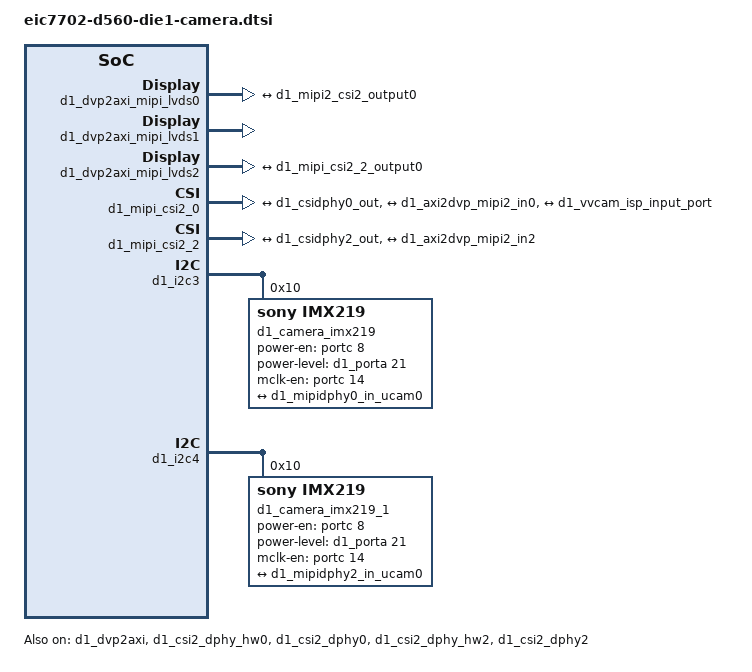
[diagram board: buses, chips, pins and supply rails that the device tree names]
&d1_vi_subsys {
	eswin,isp_dvp0_hor = <3280>;
	eswin,isp_dvp0_ver = <2464>;
	phy_mode = <2>; //5: 6x2lanes, 2: 3x4lanes
    d1_vvcam_isp_0: d1-vvcam_isp@0 {
        compatible = "verisilicon,isp-v4l2";
        id = <0>;
        status = "disabled";
		dma-noncoherent;

        ports {
            #address-cells = <1>;
            #size-cells = <0>;

			port@0 {
				#address-cells = <1>;
				#size-cells = <0>;
				reg = <0>;
				d1_vvcam_isp_input_port: endpoint@0 {
					remote-endpoint = <&d1_mipi2_csi2_output1>;
				};
			};

            port@1 {
                reg = <1>;
                d1_vvcam_isp_port0_mp: endpoint {
                    remote-endpoint = <&d1_vvcam_video0>;
                };
            };

            port@2 {
                reg = <2>;
                d1_vvcam_isp_port0_sp1: endpoint {
                    remote-endpoint = <&d1_vvcam_video1>;
                };
            };

            port@3 {
                reg = <3>;
                d1_vvcam_isp_port0_sp2: endpoint {
                    remote-endpoint = <&d1_vvcam_video2>;
                };
            };

            port@4 {
                reg = <4>;
                d1_vvcam_isp_port0_raw: endpoint {
                    remote-endpoint = <&d1_vvcam_video3>;
                };
            };
        };
    };

	d1_vvcam_vb: d1-vvcam-vb@0 {
		compatible = "verisilicon,vb";
		status = "disabled";
		dma-noncoherent;
		#size-cells = <2>;
		dma-ranges = <0x0 0x20000000 0x0 0x80000000 0x0 0x40000000>;
		iommus = <&smmu1 WIN2030_SID_ISP0>;
	};

    d1_vvcam_video_0: d1-vvcam_video@0 {
        compatible = "verisilicon,video";
        id = <0>;
        status = "disabled";
		dma-noncoherent;
		#size-cells = <2>;
		dma-ranges = <0x0 0x20000000 0x0 0x80000000 0x0 0x40000000>;
		iommus = <&smmu1 WIN2030_SID_ISP0>;

        ports {
            #address-cells = <1>;
            #size-cells = <0>;

            port@0 {
                reg = <0>;
                d1_vvcam_video0: endpoint {
                    remote-endpoint = <&d1_vvcam_isp_port0_mp>;
                };
            };

            port@1 {
                reg = <1>;
                d1_vvcam_video1: endpoint {
                    remote-endpoint = <&d1_vvcam_isp_port0_sp1>;
                };
            };

            port@2 {
                reg = <2>;
                d1_vvcam_video2: endpoint {
                    remote-endpoint = <&d1_vvcam_isp_port0_sp2>;
                };
            };

            port@3 {
                reg = <3>;
                d1_vvcam_video3: endpoint {
                    remote-endpoint = <&d1_vvcam_isp_port0_raw>;
                };
            };
        };
    };
};

&d1_dvp2axi {
	status = "okay";
};

&d1_dvp2axi_mipi_lvds0 {
	status = "okay";
	port@0 {
		d1_axi2dvp_mipi2_in0: endpoint@0 {
			remote-endpoint = <&d1_mipi2_csi2_output0>;
		};
	};
};

&d1_dvp2axi_mipi_lvds1 {
	status = "okay";
	dvp2axi_id = <1>;
};

&d1_dvp2axi_mipi_lvds2 {
	status = "okay";
	dvp2axi_id = <2>;

	port@0 {
		d1_axi2dvp_mipi2_in2: endpoint@0 {
			remote-endpoint = <&d1_mipi_csi2_2_output0>;
		};
	};
};

&d1_mipi_csi2_0 {
	num_lanes = <4>;
	snps,en-ppi-width = <1>; // 1: 16-bit, 0: 8-bit
	status = "okay";
	ports {
		#address-cells = <1>;
		#size-cells = <0>;

		port@0 {
			reg = <0>;
			#address-cells = <1>;
			#size-cells = <0>;

			d1_mipi2_csi2_input: endpoint@0 {
				remote-endpoint = <&d1_csidphy0_out>;
			};
		};

		port@1 {
			reg = <1>;
			#address-cells = <1>;
			#size-cells = <0>;

			d1_mipi2_csi2_output0: endpoint@1 {
				remote-endpoint = <&d1_axi2dvp_mipi2_in0>;
			};
		};
		port@2 {
			reg = <2>;
			#address-cells = <1>;
			#size-cells = <0>;

			d1_mipi2_csi2_output1: endpoint@2 {
				remote-endpoint = <&d1_vvcam_isp_input_port>;
			};
		};
	};
};

&d1_mipi_csi2_2 {
	num_lanes = <4>;
	snps,en-ppi-width = <1>; // 1: 16-bit, 0: 8-bit
	status = "okay";
	ports {
		#address-cells = <1>;
		#size-cells = <0>;

		port@0 {
			reg = <0>;
			#address-cells = <1>;
			#size-cells = <0>;

			d1_mipi_csi2_2_input: endpoint@0 {
				remote-endpoint = <&d1_csidphy2_out>;
			};
		};

		port@1 {
			reg = <1>;
			#address-cells = <1>;
			#size-cells = <0>;

			d1_mipi_csi2_2_output0: endpoint@1 {
				remote-endpoint = <&d1_axi2dvp_mipi2_in2>;
			};
		};
	};
};

&d1_csi2_dphy_hw0 {
	lanes = <1 2 3 4>;
	lanes-dp-dn = <0 0 0 0>; 	// 4lanes: positive on dp/ negative on dn to hs and lp mode
	status = "okay";
};

&d1_csi2_dphy0 {
	status = "okay";
	ports {
		#address-cells = <1>;
		#size-cells = <0>;

		port@0 {
			reg = <0>;
			#address-cells = <1>;
			#size-cells = <0>;

			d1_mipidphy0_in_ucam0: endpoint@1 {
				reg = <1>;
				remote-endpoint = <&d1_imx219_out0>;
				data-lanes = <1 2>;
			};
		};

		port@1 {
			reg = <1>;
			#address-cells = <1>;
			#size-cells = <0>;

			d1_csidphy0_out: endpoint@0 {
				reg = <0>;
				remote-endpoint = <&d1_mipi2_csi2_input>;
			};
		};
	};
};

&d1_csi2_dphy_hw2 {
	lanes = <1 2 3 4>;
	lanes-dp-dn = <0 0 0 0>; 	// 4lanes: positive on dp/ negative on dn to hs and lp mode
	status = "okay";
};

&d1_csi2_dphy2 {
	status = "okay";
	ports {
		#address-cells = <1>;
		#size-cells = <0>;

		port@0 {
			reg = <0>;
			#address-cells = <1>;
			#size-cells = <0>;

			d1_mipidphy2_in_ucam0: endpoint@0 {
				reg = <0>;
				remote-endpoint = <&d1_imx219_out2>;
				data-lanes = <1 2>;
			};
		};

		port@1 {
			reg = <1>;
			#address-cells = <1>;
			#size-cells = <0>;

			d1_csidphy2_out: endpoint@1 {
				reg = <1>;
				remote-endpoint = <&d1_mipi_csi2_2_input>;
			};
		};
	};
};

&d1_i2c3 {
	status = "okay";
	/* i2c-sda-hold-time-ns = <1000>; */
	/* clock-frequency = <0x186a0>; */
	d1_camera_imx219: d1-camera-imx219@10 {
		status = "okay";
		compatible = "sony,imx219";
		reg = <0x10>;

		clocks = <&d1_clock EIC7700_CLK_VI_SHUTTER_0>;
		assigned-clocks = <&d1_clock EIC7700_CLK_VI_SHUTTER_0>;
		assigned-clock-rates = <24000000>;
		clock-names = "xvclk";

		power-en-gpios = <&portc 8 GPIO_ACTIVE_HIGH>;
		power-level-gpios = <&d1_porta 21 GPIO_ACTIVE_HIGH>;
		mclk-en-gpios = <&portc 14 GPIO_ACTIVE_HIGH>;
		port {
			d1_imx219_out0: endpoint {
				remote-endpoint = <&d1_mipidphy0_in_ucam0>;
				data-lanes = <1 2 3 4>;
				link-frequencies = /bits/ 64 <364000000>;
			};
		};
	};
};

&d1_i2c4 {
	status = "okay";
	/* d0 csi2-3 */

	d1_camera_imx219_1: d1-camera-imx219-1@10 {
		status = "okay";
		compatible = "sony,imx219";
		reg = <0x10>;

		clocks = <&d1_clock EIC7700_CLK_VI_SHUTTER_0>;
		assigned-clocks = <&d1_clock EIC7700_CLK_VI_SHUTTER_0>;
		assigned-clock-rates = <24000000>;
		clock-names = "xvclk";

		power-en-gpios = <&portc 8 GPIO_ACTIVE_HIGH>;
		power-level-gpios = <&d1_porta 21 GPIO_ACTIVE_HIGH>;
		mclk-en-gpios = <&portc 14 GPIO_ACTIVE_HIGH>;

		port {
			d1_imx219_out2: endpoint {
				remote-endpoint = <&d1_mipidphy2_in_ucam0>;
				data-lanes = <1 2 3 4>;
				link-frequencies = /bits/ 64 <364000000>;
			};
		};
	};
};

&d1_isp_0 {
	status = "disabled";
};

&d1_isp_1 {
	status = "disabled";
};
